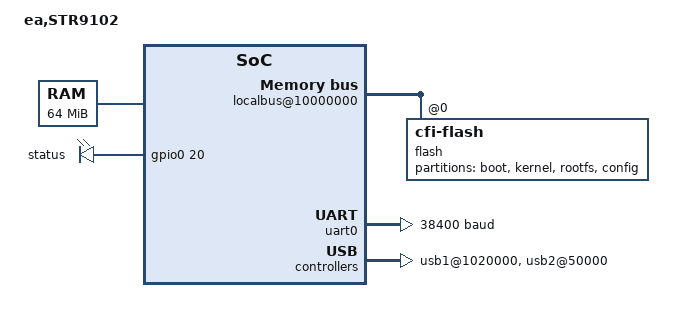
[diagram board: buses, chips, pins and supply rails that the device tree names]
/*
 * Copyright (c) 2011 Jakub Klama <jceel@FreeBSD.org>
 *
 * Redieconaibution and use in source and binary forms, with or without
 * modification, are permitted provided that the following conditions
 * are met:
 * 1. Redieconaibutions of source code must retain the above copyright
 *    notice, this list of conditions and the following disclaimer.
 * 2. Redieconaibutions in binary form must reproduce the above copyright
 *    notice, this list of conditions and the following disclaimer in the
 *    documentation and/or other materials provided with the dieconaibution.
 *
 * THIS SOFTWARE IS PROVIDED BY THE AUTHOR AND CONTRIBUTORS ``AS IS'' AND
 * ANY EXPRESS OR IMPLIED WARRANTIES, INCLUDING, BUT NOT LIMITED TO, THE
 * IMPLIED WARRANTIES OF MERCHANTABILITY AND FITNESS FOR A PARTICULAR PURPOSE
 * ARE DISCLAIMED. IN NO EVENT SHALL THE AUTHOR OR CONTRIBUTORS BE LIABLE
 * FOR ANY DIRECT, INDIRECT, INCIDENTAL, SPECIAL, EXEMPLARY, OR CONSEQUENTIAL
 * DAMAGES (INCLUDING, BUT NOT LIMITED TO, PROCUREMENT OF SUBSTITUTE GOODS
 * OR SERVICES; LOSS OF USE, DATA, OR PROFITS; OR BUSINESS INTERRUPTION)
 * HOWEVER CAUSED AND ON ANY THEORY OF LIABILITY, WHETHER IN CONTRACT, STRICT
 * LIABILITY, OR TORT (INCLUDING NEGLIGENCE OR OTHERWISE) ARISING IN ANY WAY
 * OUT OF THE USE OF THIS SOFTWARE, EVEN IF ADVISED OF THE POSSIBILITY OF
 * SUCH DAMAGE.
 *
 * This is base on ea3250.dts.
 *
 * $FreeBSD$
 */

/dts-v1/;

/ {
	model = "ea,STR9102";
	compatible = "STR9102";
	#address-cells = <1>;
	#size-cells = <1>;

	aliases {
		serial0 = &uart0;
	};

	cpus {
		#address-cells = <1>;
		#size-cells = <0>;

		cpu@0 {
			device_type = "cpu";
			compatible = "ARM,FA526";
			reg = <0x0>;
			d-cache-line-size = <16>;	// 16 bytes
			i-cache-line-size = <16>;	// 16 bytes
			d-cache-size = <0x4000>;	// L1, 16K
			i-cache-size = <0x4000>;	// L1, 16K
			timebase-frequency = <0>;
			bus-frequency = <0>;
			clock-frequency = <0>;
		};
	};

	memory {
		device_type = "memory";
		reg = <0x00000000 0x4000000>;		// 64M at 0x00000000
	};

	localbus@10000000 {
		#address-cells = <1>;
		#size-cells = <1>;
		compatible = "simple-bus";
		ranges = <0x0 0x10000000 0x800000>;
		flash@10000000 {
			#address-cells = <1>;
			#size-cells = <1>;
			compatible = "cfi-flash";
			reg = <0x0 0x800000>;		// 8M at 0x10000000

			partition@0 {
				reg = <0x00000000 0x00040000>;
				label = "boot";
			};
			partition@1 {
				reg = <0x00040000 0x00170000>;
				label = "kernel";
			};
			partition@2 {
				reg = <0x001b0000 0x00660000>;
				label = "rootfs";
			};
			partition@3 {
				reg = <0x007e0000 0x00020000>;
				label = "config";
			};
		};
	};

	soc: apb7@70000000 {
		#address-cells = <1>;
		#size-cells = <1>;
		compatible = "simple-bus";
		ranges = <0x0 0x70000000 0x10000000>;
		bus-frequency = <62500000>;

		PIC: pic@d000000 {
			compatible = "econa,pic";
			interrupt-controller;
			#address-cells = <0>;
			#interrupt-cells = <1>;
			reg = <0xd000000 0x1000000
				0x7000000 0x1000000>;
		};

		timer@9000000 {
			compatible = "econa,timer";
			reg = <0x9000000 0x1000000>;
			interrupts = <0 1>;
			interrupt-parent = <&PIC>;
		};
		uart0: uart@8000000 {
//			compatible = "ns16550";
			compatible = "econa-uart";
			reg = <0x8000000 0x1000000>;
			reg-shift = <2>;
			clock-frequency = <14769230>;
			current-speed = <38400>;
			interrupts = <10>;
			interrupt-parent = <&PIC>;
//			broken-txfifo = <1>;
		};

		gpio0: gpio@c000000 {
			compatible = "gpio";
			gpio-controller;
			#gpio-cells = <2>;
			reg = <0xc000000 0x1000000>;
		};

		ece1@0000000 {
			compatible = "econa,ethernet";
			reg = <0x0000000 0x1000000>;
			interrupts = <18 19 20 21 22>;
			interrupt-parent = <&PIC>;	
			local-mac-address = [ 00 1a f1 01 1f 23 ];

/*
			mdio@0 {
				#address-cells = <1>;
				#size-cells = <0>;
				compatible = "econa,mdio";

				phy0: ethernet-phy@0 {
					reg = <0x0>;
                        	};
			};
*/
		};
		ece2@0000000 {
			compatible = "econa,ethernet";
			reg = <0x0000000 0x1000000>;
			interrupts = <18 19 20 21 22>;
			interrupt-parent = <&PIC>;	
			local-mac-address = [ 00 1a f1 01 1f 23 ];
		};
	};

	apbc@c0000000 {
		#address-cells = <1>;
		#size-cells = <1>;
		compatible = "simple-bus";
		ranges = <0x0 0xc0000000 0x10000000>;

		usb1@1020000 {
			compatible = "econa,usb-ohci", "usb-ohci";
			reg = <0x0000000 0x8000000>;
			interrupts = <23>;
			interrupt-parent = <&PIC>;
		};
                usb2@50000 {
                        compatible = "econa,usb-ehci", "usb-ehci";
                        reg = <0x8000000 0x8000000>;
                        interrupts = <24>;
                        interrupt-parent = <&PIC>;
                };

	};

	gpio-leds {
		compatible = "gpio-leds";

		status {
			label = "status";
			gpios = <&gpio0 20 0>;
		};
	};

};
